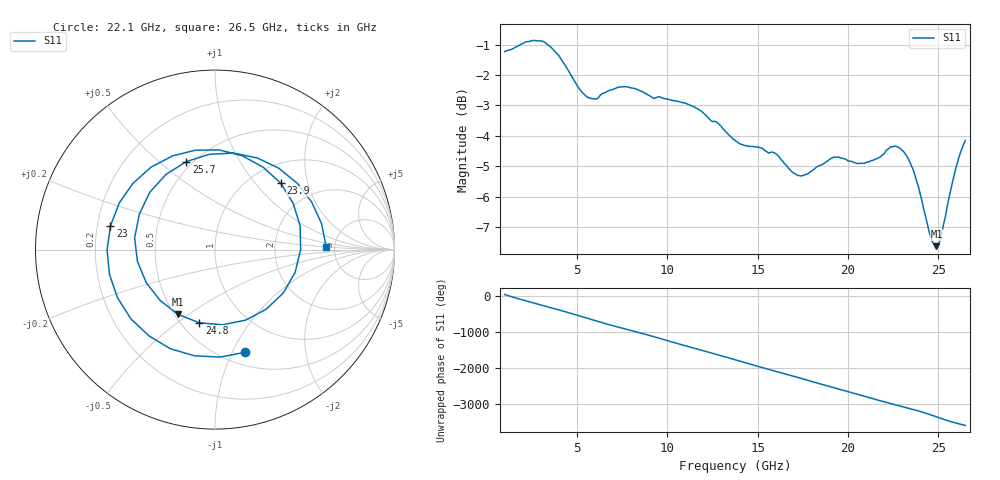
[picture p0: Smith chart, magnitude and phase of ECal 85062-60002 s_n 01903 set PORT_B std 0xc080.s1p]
!Created with skrf (http://scikit-rf.org).
# Hz S RI R 50.0
!freq ReS11 ImS11
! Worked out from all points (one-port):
!   256 points, 1 GHz to 26.5 GHz, reference 50 ohm
!   lowest |S11| = -7.6 dB at 24.9 GHz (marker M1), VSWR 2.42, Z = 26.2 - j22.9 ohm
!   |S11| at or under -10 dB: nowhere
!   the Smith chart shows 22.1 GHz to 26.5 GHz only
!   S11 on the Smith chart (normalised r, x): 22.1 GHz: 0.63, -1.12; 23 GHz: 0.26, +0.10; 23.9 GHz: 1.35, +1.38; 24.8 GHz: 0.61, -0.61; 25.7 GHz: 0.46, +0.62; 26.5 GHz: 4.25, +0.18
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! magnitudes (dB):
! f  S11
! 1 GHz  -1.2
! 2.2 GHz  -0.9
! 3.1 GHz  -0.9
! 4.2 GHz  -1.5
! 5.6 GHz  -2.7
! 6.1 GHz  -2.8
! 7.4 GHz  -2.4
! 10.6 GHz  -2.9
! 11.9 GHz  -3.2
! 13.8 GHz  -4.2
! 16 GHz  -4.6
! 17 GHz  -5.2
! 17.8 GHz  -5.2
! 19.2 GHz  -4.7
! 20.2 GHz  -4.8
! 21.1 GHz  -4.9
! 22.1 GHz  -4.5
! 22.6 GHz  -4.3
! 23 GHz  -4.5
! 23.4 GHz  -4.8
! 23.9 GHz  -5.7
! 24.5 GHz  -7.2
! 24.8 GHz  -7.6
! 24.9 GHz  -7.6
! 25.1 GHz  -7.4
! 25.7 GHz  -5.8
! 26.1 GHz  -4.8
! 26.5 GHz  -4.2
